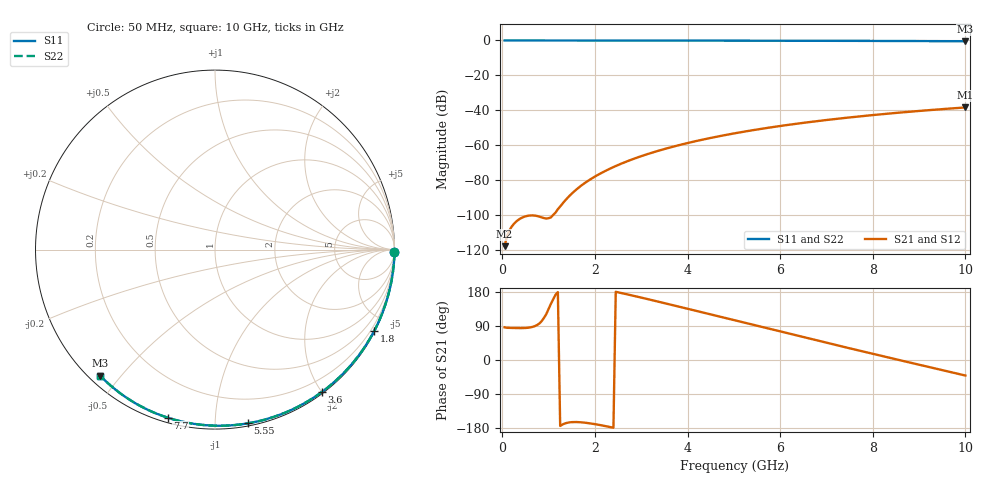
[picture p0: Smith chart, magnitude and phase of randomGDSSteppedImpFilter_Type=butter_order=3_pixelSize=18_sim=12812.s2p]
! freq	dB(S11)	phase(S11)	dB(S12)	phase(S12)
!  dB(S21)	phase(S21)	dB(S22)	phase(S22)
!S-par simulation data
#  GHz  S  DB  R 50
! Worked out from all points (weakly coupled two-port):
!   200 points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, 50 MHz to 10 GHz, reference 50 ohm
!   highest |S21| = -38.34 dB at 10 GHz (marker M1); lowest = -117.7 dB at 50 MHz (marker M2)
!   lowest |S11| = -0.4 dB at 10 GHz (marker M3), VSWR 39.02, Z = 1.53 - j22.1 ohm
!   |S11| at or under -10 dB: nowhere
!   |S22| runs from -0.4 to 0.0 dB; largest |S21 - S12| = 0
!   S11 on the Smith chart (normalised r, x): 50 MHz: open; 1.8 GHz: 0.04, -4.14; 3.6 GHz: 0.02, -2.00; 5.55 GHz: 0.02, -1.21; 7.7 GHz: 0.02, -0.76; 10 GHz: 0.03, -0.44
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0.05  -0.00 -0.8  -117.75 86.2  -117.75 86.2  -0.00 -0.8
0.9  -0.02 -13.7  -101.69 111.2  -101.69 111.2  -0.02 -13.7
1.75  -0.03 -26.4  -82.20 -165.0  -82.20 -165.0  -0.03 -26.4
1.8  -0.03 -27.1  -81.26 -165.6  -81.26 -165.6  -0.03 -27.1
1.85  -0.04 -27.9  -80.38 -166.4  -80.38 -166.4  -0.04 -27.9
1.9  -0.04 -28.6  -79.52 -167.3  -79.52 -167.3  -0.04 -28.6
2.05  -0.04 -30.8  -77.14 -170.3  -77.14 -170.3  -0.04 -30.8
2.25  -0.04 -33.8  -74.34 -175.0  -74.34 -175.0  -0.04 -33.8
2.45  -0.05 -36.7  -71.87 179.9  -71.87 179.9  -0.05 -36.7
2.65  -0.05 -39.6  -69.65 174.6  -69.65 174.6  -0.05 -39.6
3  -0.06 -44.6  -66.24 164.7  -66.24 164.7  -0.06 -44.6
3.4  -0.07 -50.3  -62.91 153.1  -62.91 153.1  -0.07 -50.3
3.6  -0.07 -53.1  -61.42 147.2  -61.42 147.2  -0.07 -53.1
4.3  -0.09 -62.7  -56.91 126.2  -56.91 126.2  -0.09 -62.7
5.05  -0.11 -72.7  -52.99 103.7  -52.99 103.7  -0.11 -72.7
5.55  -0.13 -79.2  -50.76 88.7  -50.76 88.7  -0.13 -79.2
6.1  -0.15 -86.2  -48.59 72.2  -48.59 72.2  -0.15 -86.2
6.7  -0.18 -93.7  -46.49 54.4  -46.49 54.4  -0.18 -93.7
7.7  -0.24 -105.7  -43.50 25.1  -43.50 25.1  -0.24 -105.7
8.35  -0.29 -113.4  -41.84 6.2  -41.84 6.2  -0.29 -113.4
9.15  -0.36 -122.6  -40.02 -16.7  -40.02 -16.7  -0.36 -122.6
10  -0.45 -132.3  -38.34 -41.0  -38.34 -41.0  -0.45 -132.3
